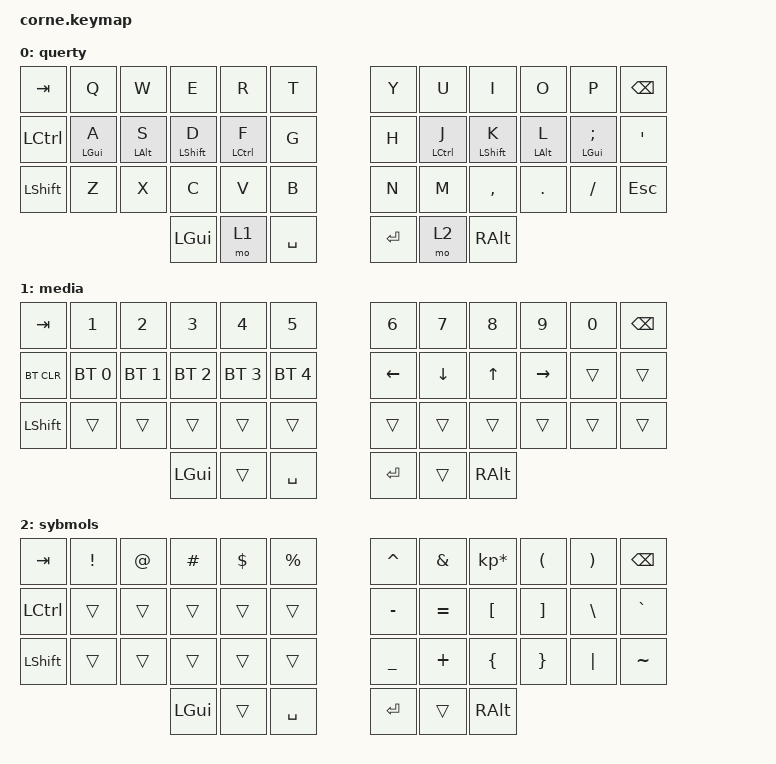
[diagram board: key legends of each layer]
/*
 * Copyright (c) 2020 The ZMK Contributors
 *
 * SPDX-License-Identifier: MIT
 */

#include <behaviors.dtsi>
#include <dt-bindings/zmk/keys.h>
#include <dt-bindings/zmk/bt.h>


// Layer Definitions
#define QWERTY 0
#define MEDIA 1
#define SYM 2

// Behavior configuration
&mt {
    tapping-term-ms = <200>;
    quick_tap_ms = <0>;
    flavor = "tap-preferred";
};
&lt {
    tapping-term-ms = <200>;
    quick_tap_ms = <0>;
    flavor = "tap-preferred";
};
&sk {
    release-after-ms = <500>;
    quick-release;
};

/ {
        keymap {
                compatible = "zmk,keymap";

                querty {
// -------------------------------------------------------------------------------------------------------------------------
// |  TAB |   Q    | W      |  E        |  R       |  T  |   |  Y  |  U         |  I        |  O       |  P   | BKSP |
// | CTRL | A/LGUI | S/LALT |  D/LSHFT  | F/LCTRL  |  G  |   |  H  |  J/LCTRR   |  K/LSHFT  |  L/LALT  |  ;   |  '   |
// | SHFT |   Z    | X      |  C        |  V       |  B  |   |  N  |  M         |  ,        |  .       |  /   | ESC  |
//                    | GUI | LWR | SPC |   | ENT | RSE  | ALT |
                        bindings = <
   &kp TAB   &kp Q &kp W &kp E &kp R &kp T                         &kp Y &kp U  &kp I     &kp O   &kp P    &kp BSPC
   &kp LCTRL &mt LGUI A &mt LALT S &mt LSHFT D &mt LCTRL F &kp G   &kp H &mt LCTRL J  &mt LSHFT K  &mt LALT L &mt LGUI SEMI &kp SQT
   &kp LSHFT &kp Z &kp X &kp C &kp V &kp B   &kp N &kp M  &kp COMMA &kp DOT &kp FSLH &kp ESC
                  &kp LGUI &mo 1 &kp SPACE   &kp RET &mo 2 &kp RALT
                        >;
                };
                media {
// -----------------------------------------------------------------------------------------
// |  TAB |  1  |  2  |  3  |  4  |  5  |   |  6  |  7  |  8  |  9  |  0  | BKSP |
// | BTCLR| BT1 | BT2 | BT3 | BT4 | BT5 |   | LFT | DWN |  UP | RGT |     |      |
// | SHFT |     |     |     |     |     |   |     |     |     |     |     |      |
//                    | GUI |     | SPC |   | ENT |     | ALT |
                        bindings = <
   &kp TAB    &kp N1       &kp N2       &kp N3       &kp N4       &kp N5         &kp N6   &kp N7   &kp N8 &kp N9    &kp N0 &kp BSPC
   &bt BT_CLR &bt BT_SEL 0 &bt BT_SEL 1 &bt BT_SEL 2 &bt BT_SEL 3 &bt BT_SEL 4   &kp LEFT &kp DOWN &kp UP &kp RIGHT &trans &trans
   &kp LSHFT  &trans       &trans       &trans       &trans       &trans         &trans   &trans   &trans &trans    &trans &trans
                                    &kp LGUI     &trans       &kp SPACE      &kp RET  &trans   &kp RALT
                        >;
                };

                sybmols {
// -----------------------------------------------------------------------------------------
// |  TAB |  !  |  @  |  #  |  $  |  %  |   |  ^  |  &  |  *  |  (  |  )  | BKSP |
// | CTRL |     |     |     |     |     |   |  -  |  =  |  [  |  ]  |  \  |  `   |
// | SHFT |     |     |     |     |     |   |  _  |  +  |  {  |  }  | "|" |  ~   |
//                    | GUI |     | SPC |   | ENT |     | ALT |
                        bindings = <
   &kp  TAB  &kp EXCL &kp AT &kp HASH &kp DLLR &kp PRCNT   &kp CARET &kp AMPS  &kp KP_MULTIPLY &kp LPAR &kp RPAR &kp BSPC
   &kp LCTRL &trans   &trans &trans   &trans   &trans      &kp MINUS &kp EQUAL &kp LBKT        &kp RBKT &kp BSLH &kp GRAVE
   &kp LSHFT &trans   &trans &trans   &trans   &trans      &kp UNDER &kp PLUS  &kp LBRC        &kp RBRC &kp PIPE &kp TILDE
                             &kp LGUI &trans   &kp SPACE   &kp RET   &trans    &kp RALT
                        >;
                };
        };
};
